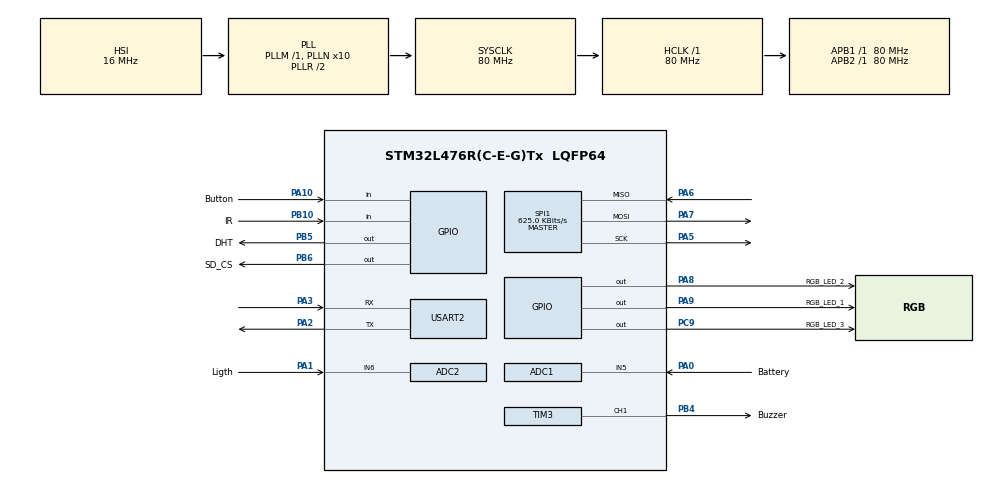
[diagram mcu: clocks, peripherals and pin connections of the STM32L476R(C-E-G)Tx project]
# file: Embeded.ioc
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ADC1.Channel-0\#ChannelRegularConversion=ADC_CHANNEL_5
ADC1.NbrOfConversionFlag=1
ADC1.OffsetNumber-0\#ChannelRegularConversion=ADC_OFFSET_NONE
ADC1.Rank-0\#ChannelRegularConversion=1
ADC1.SamplingTime-0\#ChannelRegularConversion=ADC_SAMPLETIME_2CYCLES_5
ADC1.master=1
ADC2.Channel-0\#ChannelRegularConversion=ADC_CHANNEL_6
ADC2.NbrOfConversionFlag=1
ADC2.OffsetNumber-0\#ChannelRegularConversion=ADC_OFFSET_NONE
ADC2.Rank-0\#ChannelRegularConversion=1
ADC2.Resolution=ADC_RESOLUTION_8B
ADC2.SamplingTime-0\#ChannelRegularConversion=ADC_SAMPLETIME_2CYCLES_5
FREERTOS.Tasks01=defaultTask,24,128,StartDefaultTask,Default,NULL,Dynamic,NULL,NULL;InitTask,8,1024,StartTask02,Default,NULL,Dynamic,NULL,NULL;MonitorTask,8,1024,StartTask03,Default,NULL,Dynamic,NULL,NULL;ObjectDetection,8,1024,StartTask04,Default,NULL,Dynamic,NULL,NULL;CommRxTask,8,1024,StartTask05,Default,NULL,Dynamic,NULL,NULL;CommTxTask,8,128,StartTask06,Default,NULL,Dynamic,NULL,NULL;KeepAliveTask,8,128,StartTask07,Default,NULL,Dynamic,NULL,NULL;WatchdogTask,48,128,StartTask08,Default,NULL,Dynamic,NULL,NULL
FREERTOS.configTOTAL_HEAP_SIZE=\   24576
IWDG.Prescaler=IWDG_PRESCALER_32
Mcu.Family=STM32L4
Mcu.Name=STM32L476R(C-E-G)Tx
Mcu.Package=LQFP64
NVIC.ADC1_2_IRQn=true\:5\:0\:false\:false\:true\:true\:true\:true\:true
NVIC.PriorityGroup=NVIC_PRIORITYGROUP_4
NVIC.USART2_IRQn=true\:5\:0\:false\:false\:true\:true\:true\:true\:true
PA0.GPIO_Label=Battery
PA0.Signal=ADCx_IN5
PA1.GPIO_Label=Ligth
PA1.Signal=ADCx_IN6
PA10.GPIO_Label=Button
PA10.Signal=GPIO_Input
PA2.Mode=Asynchronous
PA2.Signal=USART2_TX
PA3.Mode=Asynchronous
PA3.Signal=USART2_RX
PA5.Mode=Full_Duplex_Master
PA5.Signal=SPI1_SCK
PA6.GPIO_PuPd=GPIO_PULLUP
PA6.Mode=Full_Duplex_Master
PA6.Signal=SPI1_MISO
PA7.Mode=Full_Duplex_Master
PA7.Signal=SPI1_MOSI
PA8.GPIO_Label=RGB_LED_2
PA8.GPIO_ModeDefaultOutputPP=GPIO_MODE_OUTPUT_PP
PA8.GPIO_PuPd=GPIO_NOPULL
PA8.Signal=GPIO_Output
PA9.GPIO_Label=RGB_LED_1
PA9.GPIO_PuPd=GPIO_NOPULL
PA9.Signal=GPIO_Output
PB10.GPIO_Label=IR
PB10.Signal=GPIO_Input
PB4\ (NJTRST).GPIO_Label=Buzzer
PB4\ (NJTRST).Signal=S_TIM3_CH1
PB5.GPIO_Label=DHT
PB5.GPIO_ModeDefaultOutputPP=GPIO_MODE_OUTPUT_OD
PB5.GPIO_PuPd=GPIO_PULLUP
PB5.Signal=GPIO_Output
PB6.GPIO_Label=SD_CS
PB6.Signal=GPIO_Output
PC9.GPIO_Label=RGB_LED_3
PC9.Signal=GPIO_Output
ProjectManager.HeapSize=0x200
ProjectManager.StackSize=0x400
ProjectManager.TargetToolchain=STM32CubeIDE
RCC.ADCFreq_Value=64000000
RCC.AHBFreq_Value=80000000
RCC.APB1Freq_Value=80000000
RCC.APB1TimFreq_Value=80000000
RCC.APB2Freq_Value=80000000
RCC.APB2TimFreq_Value=80000000
RCC.CortexFreq_Value=80000000
RCC.HCLKFreq_Value=80000000
RCC.HSE_VALUE=8000000
RCC.HSI_VALUE=16000000
RCC.LSE_VALUE=32768
RCC.MSI_VALUE=4000000
RCC.PLLN=10
RCC.PLLSourceVirtual=RCC_PLLSOURCE_HSI
RCC.SYSCLKFreq_VALUE=80000000
RCC.SYSCLKSource=RCC_SYSCLKSOURCE_PLLCLK
RCC.USBFreq_Value=64000000
RCC.VCOOutputFreq_Value=160000000
RTC.Hours=10
RTC.Minutes=31
SH.ADCx_IN5.0=ADC1_IN5,IN5-Single-Ended
SH.ADCx_IN6.0=ADC2_IN6,IN6-Single-Ended
SH.S_TIM3_CH1.0=TIM3_CH1,PWM Generation1 CH1
SPI1.BaudRatePrescaler=SPI_BAUDRATEPRESCALER_128
SPI1.CalculateBaudRate=625.0 KBits/s
SPI1.DataSize=SPI_DATASIZE_8BIT
SPI1.Direction=SPI_DIRECTION_2LINES
SPI1.Mode=SPI_MODE_MASTER
SPI1.VirtualType=VM_MASTER
TIM3.Channel-PWM\ Generation1\ CH1=TIM_CHANNEL_1
TIM3.Period=100
TIM3.Prescaler=399
TIM6.Period=999
TIM6.Prescaler=79
USART2.VirtualMode-Asynchronous=VM_ASYNC
VP_FATFS_VS_Generic.Mode=User_defined
VP_FREERTOS_VS_CMSIS_V2.Mode=CMSIS_V2
VP_IWDG_VS_IWDG.Mode=IWDG_Activate
VP_RTC_VS_RTC_Activate.Mode=RTC_Enabled
VP_RTC_VS_RTC_Calendar.Mode=RTC_Calendar
VP_TIM6_VS_ClockSourceINT.Mode=Enable_Timer
board=custom

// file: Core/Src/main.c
/* USER CODE BEGIN Header */
/**
  ******************************************************************************
  * @file           : main.c
  * @brief          : Main program body
  ******************************************************************************
  * @attention
  *
  * Copyright (c) 2026 STMicroelectronics.
  * All rights reserved.
  *
  * This software is licensed under terms that can be found in the LICENSE file
  * in the root directory of this software component.
  * If no LICENSE file comes with this software, it is provided AS-IS.
  *
  ******************************************************************************
  */
/* USER CODE END Header */
#include "main.h"
#include "cmsis_os.h"
#include "fatfs.h"

/* USER CODE BEGIN Includes */
#include "protocol.h"
#include "comm_transport_uart.h"
#include "ir.h"
#include "button.h"
#include "buzzer.h"
#include "configuration.h"
#include "log.h"
#include "event.h"
#include "init.h"
#include "monitor.h"
#include "object_detection.h"
#include "keepalive.h"
#include "communication.h"
#include "tx_queue.h"
#include "rtc_sync.h"
#include "task.h" /* DIAGNOSTIC - raw FreeRTOS task API (uxTaskGetStackHighWaterMark, xPortGetFreeHeapSize) for the freeze investigation */
/* USER CODE END Includes */

/* USER CODE BEGIN PD */

/* Phase 1 (LNC Timestamp/RTC Hardening): a fixed, arbitrary-but-distinctive
 * value written to RTC_BKP_DR0 only after a fully successful RTC
 * synchronization (see RtcSync_ApplyEpoch() below). Confirmed via a
 * repository-wide search that no other project code or CubeMX-generated
 * file uses this backup register for anything else. */
#define RTC_SYNC_MARKER 0x52544301UL

/* Valid RTC_DateTypeDef.Year range (uint8_t offset from 2000, per the
 * STM32 HAL) - bounds which Unix epochs can actually be applied to this
 * RTC. Below 946684800 (2000-01-01) or above 4102444799 (2099-12-31) is
 * not representable and must be rejected by RtcSync_ApplyEpoch(). */
#define RTC_SYNC_MIN_EPOCH 946684800UL
#define RTC_SYNC_MAX_EPOCH 4102444799UL

/* USER CODE END PD */

ADC_HandleTypeDef hadc1;
ADC_HandleTypeDef hadc2;

IWDG_HandleTypeDef hiwdg;

RTC_HandleTypeDef hrtc;

SPI_HandleTypeDef hspi1;

TIM_HandleTypeDef htim3;
TIM_HandleTypeDef htim6;

UART_HandleTypeDef huart2;

/* Definitions for defaultTask */
osThreadId_t defaultTaskHandle;
const osThreadAttr_t defaultTask_attributes = {
  .name = "defaultTask",
  .stack_size = 128 * 4,
  .priority = (osPriority_t) osPriorityNormal,
};
/* Definitions for InitTask */
osThreadId_t InitTaskHandle;
const osThreadAttr_t InitTask_attributes = {
  .name = "InitTask",
  .stack_size = 1024 * 4,
  .priority = (osPriority_t) osPriorityLow,
};
/* Definitions for MonitorTask */
osThreadId_t MonitorTaskHandle;
const osThreadAttr_t MonitorTask_attributes = {
  .name = "MonitorTask",
  .stack_size = 1024 * 4,
  .priority = (osPriority_t) osPriorityLow,
};
/* Definitions for ObjectDetection */
osThreadId_t ObjectDetectionHandle;
const osThreadAttr_t ObjectDetection_attributes = {
  .name = "ObjectDetection",
  .stack_size = 1024 * 4,
  .priority = (osPriority_t) osPriorityLow,
};
/* Definitions for CommRxTask */
osThreadId_t CommRxTaskHandle;
const osThreadAttr_t CommRxTask_attributes = {
  .name = "CommRxTask",
  .stack_size = 1024 * 4,
  .priority = (osPriority_t) osPriorityLow,
};
/* Definitions for CommTxTask */
osThreadId_t CommTxTaskHandle;
const osThreadAttr_t CommTxTask_attributes = {
  .name = "CommTxTask",
  .stack_size = 128 * 4,
  .priority = (osPriority_t) osPriorityLow,
};
/* Definitions for KeepAliveTask */
osThreadId_t KeepAliveTaskHandle;
const osThreadAttr_t KeepAliveTask_attributes = {
  .name = "KeepAliveTask",
  .stack_size = 128 * 4,
  .priority = (osPriority_t) osPriorityLow,
};
/* Definitions for WatchdogTask */
osThreadId_t WatchdogTaskHandle;
const osThreadAttr_t WatchdogTask_attributes = {
  .name = "WatchdogTask",
  .stack_size = 128 * 4,
  .priority = (osPriority_t) osPriorityRealtime,
};
/* USER CODE BEGIN PV */
/* DIAGNOSTIC (round 5, Object Detection task-freeze investigation) - a
 * NEW, temporary 8th task, not one of Sec 7's approved 7. Per explicit
 * user instruction, for this investigation only - remove once concluded.
 * Very low priority, minimal stack, no blocking calls, no shared
 * resources other than one otherwise-unused LED pin (RGB_LED_2/PA8,
 * the blue channel - Event's led.c never drives this channel per its
 * own header comment, so this cannot visually conflict with Event's
 * real red/yellow/green usage). Purpose: if g_heartbeat_count keeps
 * rising while ObjectDetectionTask's own counters freeze, the problem is
 * scoped to ObjectDetectionTask (or something it specifically depends
 * on); if this ALSO freezes at the same time, the problem is system-wide
 * (scheduler/fault/heap/stack corruption). */
osThreadId_t HeartbeatTaskHandle;
const osThreadAttr_t HeartbeatTask_attributes = {
  .name = "HeartbeatTask",
  .stack_size = 128 * 4,
  .priority = (osPriority_t) osPriorityLow,
};
volatile uint32_t g_heartbeat_count = 0;

/* DIAGNOSTIC (round 5) - stack high-water mark (in words remaining, the
 * FreeRTOS convention - NOT bytes) for ObjectDetectionTask and
 * MonitorTask, sampled once per loop iteration in each. A value
 * approaching 0 near the ~5s failure point would indicate a stack
 * overflow is imminent/happening. */
volatile uint32_t g_od_stack_hwm = 0;
volatile uint32_t g_monitor_stack_hwm = 0;

/* DIAGNOSTIC (round 5) - free heap bytes (FreeRTOS heap_4), sampled from
 * both ObjectDetectionTask's and MonitorTask's loops. A sudden drop or
 * implausible plateau near the failure point would suggest heap
 * exhaustion or corruption. */
volatile uint32_t g_free_heap_size = 0;

/* DIAGNOSTIC (round 5) - set by vApplicationStackOverflowHook() (see
 * "USER CODE BEGIN 4" near the end of this file) if FreeRTOS's own
 * stack-overflow detection (just enabled in FreeRTOSConfig.h) ever
 * fires. g_stack_overflow_task_name points at the offending task's own
 * name string (owned by its TCB, safe to read - no task in this project
 * is ever deleted). */
volatile int g_stack_overflow_detected = 0;
volatile char *g_stack_overflow_task_name = 0;

/* Bring-up test counters for the Protocol+Transport loopback test.
   Watch these live in the debugger (Live Expressions / Watch window) -
   this is how we observe test results, since USART2 is reserved for
   protocol traffic only and never carries printf/debug text. */
volatile uint32_t g_frames_decoded_ok = 0;
volatile uint32_t g_frames_decode_error = 0;

/* NOTE: the DHT11/Battery/Light temporary read-and-watch test globals
   that used to live here (g_dht_last_result, g_dht_last_temperature,
   g_dht_last_humidity, g_dht_read_count, g_battery_last_voltage,
   g_light_last_percent) have been REMOVED now that Monitor (monitor.c,
   called from StartTask03/MonitorTask below) is the real, permanent
   caller of DHT_Read()/Battery_ReadVoltage()/Light_ReadPercent() - see
   g_monitor_* below instead. Keeping the old StartTask02 test loop
   calling these too would have made two different tasks call
   DHT_Read() concurrently, which is unsafe (dht.c's bit-banging has no
   reentrancy protection - see dht.c's own file header). All 3 drivers
   were already confirmed working on real hardware before this removal
   (Sec 14/15, PROJECT_GUIDE.md). */

/* TEMPORARY IR sensor hardware test value - same debugger-watch approach
   as above. Also used to determine the sensor's real polarity (currently
   UNCONFIRMED - see ir.h). Remove once the IR driver is confirmed working
   and its polarity is settled. */
volatile IrState g_ir_last_state = IR_NOT_DETECTED;

/* TEMPORARY button hardware test value - same debugger-watch approach as
   above. Also used to determine the button's real polarity (currently
   UNCONFIRMED - see button.h). Remove once the Button driver is
   confirmed working and its polarity is settled. */
volatile ButtonState g_button_last_state = BUTTON_NOT_PRESSED;

/* TEMPORARY buzzer hardware test flag - toggled each loop iteration so the
   buzzer audibly turns on/off every 2s on real hardware. Remove once the
   Buzzer driver is confirmed working. */
volatile uint8_t g_buzzer_test_on = 0;

/* TEMPORARY Configuration hardware test values - same debugger-watch
   approach as above. g_config_loaded_from_flash tells us whether this
   boot found valid data already in flash (1) or had to apply and save
   defaults (0, expected on the very first boot after this firmware is
   flashed). The two temperature values let us eyeball that the loaded
   values look right. Remove once Configuration is confirmed working. */
volatile int g_config_loaded_from_flash = 0;
volatile float g_config_temp_normal_low = 0.0f;
volatile float g_config_temp_normal_high = 0.0f;

/* TEMPORARY Log hardware test values - same debugger-watch approach as
   above. g_log_mounted tells us whether the SD card mounted successfully
   (this is the very first real use of the SD card/FatFs in this
   project). Remove once Log is confirmed working. */
volatile int g_log_init_called = 0; /* set to 1 as the very first line inside Log_Init() itself - confirms the function was actually reached */
volatile int g_log_mounted = 0;
volatile int g_log_mount_result = 0;

/* RTC hardware test values - the real date/time read from the RTC at
   boot (StartTask02, via HAL_RTC_GetTime()/HAL_RTC_GetDate()) and the
   Unix epoch DateToEpoch() converts it to, which is what's actually
   passed into Init_Start(). g_rtc_year/month/day/hour/minute/second let
   the real RTC reading be eyeballed directly against the wall clock;
   g_rtc_timestamp mirrors the exact value Init received. Replaces the
   old fixed g_log_test_timestamp placeholder now that the RTC is
   enabled - Monitor (see g_monitor_test_timestamp below) still has its
   own, separate, incrementing test clock for its own per-cycle
   timestamps, unaffected by this change. */
volatile uint16_t g_rtc_year = 0;
volatile uint8_t g_rtc_month = 0;
volatile uint8_t g_rtc_day = 0;
volatile uint8_t g_rtc_hour = 0;
volatile uint8_t g_rtc_minute = 0;
volatile uint8_t g_rtc_second = 0;
volatile uint32_t g_rtc_timestamp = 0;

/* Set once, early in main(), from RCC_FLAG_IWDGRST before the reset
 * flags are cleared. Passed into Init_Start(), which forwards it to
 * Event_OnInitStartup() as the startup event's flag. */
uint8_t g_wasWatchdogReset = 0;

/* Phase 1 (LNC Timestamp/RTC Hardening): true once the RTC has been set
 * from a real CC-supplied epoch since the last boot (via either
 * TAG_SET_RTC_DATETIME or TAG_SYSTEM_TIME_RESPONSE), or restored at boot
 * via the RTC_BKP_DR0 marker. Deliberately kept private to this file -
 * every other module queries it only through RtcSync_IsSynchronized()
 * (rtc_sync.h), never by name. See RtcSync_IsSynchronized()/
 * RtcSync_ApplyEpoch() further down for the only code that reads/writes
 * this variable. */
static volatile uint8_t rtc_synchronized = 0;

/* TEMPORARY Log write-path diagnostics - the FatFs result of the last
   f_open()/f_write()/f_close() call inside Log_Write(), so we can see
   exactly where a write is failing. 0 = FR_OK = success; nonzero = a
   specific FatFs error (see log.h's getter comments for the common
   ones). Remove once Log is confirmed working. */
volatile int g_log_open_result = 0;
volatile int g_log_write_result = 0;
volatile int g_log_close_result = 0;
volatile unsigned int g_log_bytes_written = 0;

/* TEMPORARY Event hardware test values - same debugger-watch approach as
   Log's. g_event_last_frame_length is the byte count Event_On*()
   returned for the most recent test call (0 would mean the CC-frame
   build failed). g_event_alarm_active mirrors Event_IsAlarmActive() so
   the alarm-active / button-silences-it behavior can be watched live.
   Remove once Event is confirmed working. */
volatile uint16_t g_event_last_frame_length = 0;
volatile int g_event_alarm_active = 0;
volatile int g_event_open_result = 0;
volatile int g_event_write_result = 0;
volatile int g_event_close_result = 0;

/* TEMPORARY Monitor hardware test values - same debugger-watch approach
   as every other module. No RTC exists yet, so g_monitor_test_timestamp
   is Monitor's own fixed test clock, incremented by 5s (Monitor's real
   Sec 2.1 cadence) once per real sampling cycle. g_monitor_sample_count
   confirms MonitorTask is actually running; the 4 sensor values + mode
   mirror the MeasurementSample Monitor_Sample() just built, so the
   classification logic can be watched live against Configuration's
   limits. Remove once Monitor is confirmed working. */
volatile uint32_t g_monitor_sample_count = 0;
volatile uint32_t g_monitor_test_timestamp = 1788134400UL; /* 2026-08-31 00:00:00 UTC */
volatile float g_monitor_last_temperature = 0.0f;
volatile float g_monitor_last_humidity = 0.0f;
volatile float g_monitor_last_light = 0.0f;
volatile float g_monitor_last_battery = 0.0f;
volatile uint8_t g_monitor_last_mode = MODE_NORMAL;

/* TEMPORARY Object Detection hardware test values - same debugger-watch
   approach as every other module. No RTC exists yet, so
   g_object_detection_test_timestamp is this task's own fixed test clock
   (see StartTask04's comment for why it increments by 1 every 20ms poll
   rather than tracking real time). g_object_detection_last_state mirrors
   ObjectDetection_GetCurrentState() so the debounced detect/clear state
   can be watched live. Remove once Object Detection is confirmed
   working. */
volatile uint32_t g_object_detection_test_timestamp = 1788134400UL; /* 2026-08-31 00:00:00 UTC */
volatile IrState g_object_detection_last_state = IR_NOT_DETECTED;

/* DIAGNOSTIC (investigating a reported "stuck at DETECTED" hardware
 * issue) - mirrors ObjectDetection_GetRawReading(), i.e. the raw
 * IR_Read() value from the most recent poll, NOT the debounced
 * g_object_detection_last_state above. Watch this with no IR source
 * present, then with a remote pointed at the sensor, then with the
 * remote removed again, to see whether the raw pin is actually stable
 * at idle or chattering on its own. Remove once understood. */
volatile IrState g_object_detection_raw_ir_state = IR_NOT_DETECTED;

/* DIAGNOSTIC (round 2 of the same investigation) - the DIRECT GPIO
 * read result on IR_Pin (PB10), 1 = GPIO_PIN_SET (HIGH), 0 =
 * GPIO_PIN_RESET (LOW), taken independently of ir.c's IR_Read()/IrState
 * conversion (a second, separate HAL_GPIO_ReadPin() call - safe, since a
 * plain digital input has no state/side effects to duplicate). Lets the
 * raw 0/1 level be compared side by side with g_object_detection_raw_ir_state
 * to rule in/out ir.c's HIGH/LOW-to-IrState mapping as a factor. Remove
 * once the IR investigation is concluded. */
volatile uint8_t g_object_detection_raw_gpio_level = 0;

/* DIAGNOSTIC (round 3) - increments unconditionally on every single
 * StartTask04 loop iteration, BEFORE anything else runs that iteration.
 * If this is NOT rising in the debugger (watch it over several seconds,
 * not just one snapshot), the task itself is not looping - a genuine
 * task-execution problem (hang/fault/starvation), not an IR signal
 * problem. If it IS rising steadily (~50/sec, matching the 20ms poll
 * interval) while g_object_detection_raw_gpio_level stays fixed at 1,
 * that proves HAL_GPIO_ReadPin() is genuinely being called every 20ms
 * and genuinely keeps reading HIGH at each sampled instant. Remove once
 * the IR investigation is concluded. */
volatile uint32_t g_object_detection_poll_count = 0;

/* DIAGNOSTIC (round 4) - one counter placed at each step of StartTask04's
 * loop body, in order. Each should equal g_object_detection_poll_count
 * if the loop is completing normally. Whichever one STOPS matching (is
 * lower than the ones before it, and stays there) pinpoints exactly
 * which step the task got stuck on. Remove once the IR investigation is
 * concluded. */
volatile uint32_t g_od_diag_before_poll = 0;          /* step 2: right before ObjectDetection_Poll() */
volatile uint32_t g_od_diag_after_poll = 0;            /* step 3: right after ObjectDetection_Poll() returns */
volatile uint32_t g_od_diag_before_button_check = 0;   /* step 4: right before Event_CheckAlarmButton() */
volatile uint32_t g_od_diag_after_button_check = 0;    /* step 5: right after Event_CheckAlarmButton() returns */
volatile uint32_t g_od_diag_before_delay = 0;          /* step 6: right before osDelay(20) */
volatile uint32_t g_od_diag_after_delay = 0;           /* step 7: right after osDelay(20) returns - if this stops but step 6 doesn't, osDelay() itself never returned */

/* TEMPORARY Keep-Alive hardware test values - same debugger-watch
   approach as every other module. g_keepalive_send_count confirms
   KeepAliveTask is actually running its real 6s cycle;
   g_keepalive_last_timestamp is the fresh RTC-derived value passed into
   KeepAlive_Send() that cycle; g_keepalive_last_frame_length mirrors
   KeepAlive_Send()'s return value (0 would mean Message_BuildKeepAlive()
   failed - should never happen with a 32-byte buffer, but worth
   watching). Remove once Keep-Alive is confirmed working. */
volatile uint32_t g_keepalive_send_count = 0;
volatile uint32_t g_keepalive_last_timestamp = 0;
volatile uint16_t g_keepalive_last_frame_length = 0;

/* TEMPORARY Communication dispatch hardware test values - same
   debugger-watch approach as every other module. Mirrors
   communication.c's own counters/last-tag getter after every dispatched
   frame, so a real CC-sent command's effect can be watched live (e.g.
   send a "set temp normal range" command and watch
   g_dispatch_set_limit_count go up). Remove once dispatch is confirmed
   working. */
volatile uint8_t g_dispatch_last_tag = 0;
volatile uint32_t g_dispatch_set_limit_count = 0;
volatile uint32_t g_dispatch_system_time_request_count = 0;
volatile uint32_t g_dispatch_deferred_count = 0;
volatile uint32_t g_dispatch_unknown_tag_count = 0;
/* USER CODE END PV */

void SystemClock_Config(void);
void PeriphCommonClock_Config(void);
static void MX_GPIO_Init(void);
static void MX_SPI1_Init(void);
static void MX_USART2_UART_Init(void);
static void MX_TIM6_Init(void);
static void MX_ADC1_Init(void);
static void MX_ADC2_Init(void);
static void MX_TIM3_Init(void);
static void MX_RTC_Init(void);
static void MX_IWDG_Init(void);
void StartDefaultTask(void *argument);
void StartTask02(void *argument);
void StartTask03(void *argument);
void StartTask04(void *argument);
void StartTask05(void *argument);
void StartTask06(void *argument);
void StartTask07(void *argument);
void StartTask08(void *argument);

/* USER CODE BEGIN PFP */
void StartHeartbeatTask(void *argument); /* DIAGNOSTIC - round 5, see its attributes/globals in USER CODE BEGIN PV */
/* USER CODE END PFP */

int main(void)
{

  /* MCU Configuration--------------------------------------------------------*/

  /* Reset of all peripherals, Initializes the Flash interface and the Systick. */

	HAL_Init();

  /* USER CODE BEGIN Init */

  /* Read the reset cause before anything can clear it - RCC->CSR's reset
     flags persist across HAL_Init() and are only cleared explicitly
     below, so this is the earliest point that reliably captures whether
     the IWDG caused the reset preceding this boot. */
  g_wasWatchdogReset = (uint8_t)(__HAL_RCC_GET_FLAG(RCC_FLAG_IWDGRST) != RESET);
  __HAL_RCC_CLEAR_RESET_FLAGS();

  /* USER CODE END Init */

  /* Configure the system clock */
  SystemClock_Config();

  /* Configure the peripherals common clocks */
  PeriphCommonClock_Config();

  /* Initialize all configured peripherals */
  MX_GPIO_Init();
  MX_SPI1_Init();
  MX_USART2_UART_Init();
  MX_FATFS_Init();
  MX_TIM6_Init();
  MX_ADC1_Init();
  MX_ADC2_Init();
  MX_TIM3_Init();
  MX_RTC_Init();
  MX_IWDG_Init();

  /* Init scheduler */
  osKernelInitialize();

  /* USER CODE BEGIN RTOS_QUEUES */
  /* Sec 7: the 3 statically-allocated TX-priority queues (see
     tx_queue.c for why static, not heap-backed) - must exist before
     CommTxTask/KeepAliveTask/etc. start using them, so created here,
     before the scheduler starts. This marker is CubeMX's own
     regeneration-safe spot for exactly this ("add queues, ..."). */
  TxQueue_Init();
  /* USER CODE END RTOS_QUEUES */

  /* Create the thread(s) */
  /* creation of defaultTask */
  defaultTaskHandle = osThreadNew(StartDefaultTask, NULL, &defaultTask_attributes);

  /* creation of InitTask */
  InitTaskHandle = osThreadNew(StartTask02, NULL, &InitTask_attributes);

  /* creation of MonitorTask */
  MonitorTaskHandle = osThreadNew(StartTask03, NULL, &MonitorTask_attributes);

  /* creation of ObjectDetection */
  ObjectDetectionHandle = osThreadNew(StartTask04, NULL, &ObjectDetection_attributes);

  /* creation of CommRxTask */
  CommRxTaskHandle = osThreadNew(StartTask05, NULL, &CommRxTask_attributes);

  /* creation of CommTxTask */
  CommTxTaskHandle = osThreadNew(StartTask06, NULL, &CommTxTask_attributes);

  /* creation of KeepAliveTask */
  KeepAliveTaskHandle = osThreadNew(StartTask07, NULL, &KeepAliveTask_attributes);

  /* creation of WatchdogTask */
  WatchdogTaskHandle = osThreadNew(StartTask08, NULL, &WatchdogTask_attributes);

  /* USER CODE BEGIN RTOS_THREADS */
  /* DIAGNOSTIC (round 5) - temporary 8th task, see its attributes/globals
     in USER CODE BEGIN PV for why. Remove once the investigation concludes. */
  HeartbeatTaskHandle = osThreadNew(StartHeartbeatTask, NULL, &HeartbeatTask_attributes);
  /* USER CODE END RTOS_THREADS */

  /* Start scheduler */
  osKernelStart();

  /* We should never get here as control is now taken by the scheduler */

  /* Infinite loop */
  while (1)
  {

  }
}

void SystemClock_Config(void)
{
  RCC_OscInitTypeDef RCC_OscInitStruct = {0};
  RCC_ClkInitTypeDef RCC_ClkInitStruct = {0};

  /** Configure the main internal regulator output voltage
  */
  if (HAL_PWREx_ControlVoltageScaling(PWR_REGULATOR_VOLTAGE_SCALE1) != HAL_OK)
  {
    Error_Handler();
  }

  /** Initializes the RCC Oscillators according to the specified parameters
  * in the RCC_OscInitTypeDef structure.
  */
  RCC_OscInitStruct.OscillatorType = RCC_OSCILLATORTYPE_HSI|RCC_OSCILLATORTYPE_LSI;
  RCC_OscInitStruct.HSIState = RCC_HSI_ON;
  RCC_OscInitStruct.HSICalibrationValue = RCC_HSICALIBRATION_DEFAULT;
  RCC_OscInitStruct.LSIState = RCC_LSI_ON;
  RCC_OscInitStruct.PLL.PLLState = RCC_PLL_ON;
  RCC_OscInitStruct.PLL.PLLSource = RCC_PLLSOURCE_HSI;
  RCC_OscInitStruct.PLL.PLLM = 1;
  RCC_OscInitStruct.PLL.PLLN = 10;
  RCC_OscInitStruct.PLL.PLLP = RCC_PLLP_DIV7;
  RCC_OscInitStruct.PLL.PLLQ = RCC_PLLQ_DIV2;
  RCC_OscInitStruct.PLL.PLLR = RCC_PLLR_DIV2;
  if (HAL_RCC_OscConfig(&RCC_OscInitStruct) != HAL_OK)
  {
    Error_Handler();
  }

  /** Initializes the CPU, AHB and APB buses clocks
  */
  RCC_ClkInitStruct.ClockType = RCC_CLOCKTYPE_HCLK|RCC_CLOCKTYPE_SYSCLK
                              |RCC_CLOCKTYPE_PCLK1|RCC_CLOCKTYPE_PCLK2;
  RCC_ClkInitStruct.SYSCLKSource = RCC_SYSCLKSOURCE_PLLCLK;
  RCC_ClkInitStruct.AHBCLKDivider = RCC_SYSCLK_DIV1;
  RCC_ClkInitStruct.APB1CLKDivider = RCC_HCLK_DIV1;
  RCC_ClkInitStruct.APB2CLKDivider = RCC_HCLK_DIV1;

  if (HAL_RCC_ClockConfig(&RCC_ClkInitStruct, FLASH_LATENCY_4) != HAL_OK)
  {
    Error_Handler();
  }
}

void PeriphCommonClock_Config(void)
{
  RCC_PeriphCLKInitTypeDef PeriphClkInit = {0};

  /** Initializes the peripherals clock
  */
  PeriphClkInit.PeriphClockSelection = RCC_PERIPHCLK_ADC;
  PeriphClkInit.AdcClockSelection = RCC_ADCCLKSOURCE_PLLSAI1;
  PeriphClkInit.PLLSAI1.PLLSAI1Source = RCC_PLLSOURCE_HSI;
  PeriphClkInit.PLLSAI1.PLLSAI1M = 1;
  PeriphClkInit.PLLSAI1.PLLSAI1N = 8;
  PeriphClkInit.PLLSAI1.PLLSAI1P = RCC_PLLP_DIV7;
  PeriphClkInit.PLLSAI1.PLLSAI1Q = RCC_PLLQ_DIV2;
  PeriphClkInit.PLLSAI1.PLLSAI1R = RCC_PLLR_DIV2;
  PeriphClkInit.PLLSAI1.PLLSAI1ClockOut = RCC_PLLSAI1_ADC1CLK;
  if (HAL_RCCEx_PeriphCLKConfig(&PeriphClkInit) != HAL_OK)
  {
    Error_Handler();
  }
}

static void MX_ADC1_Init(void)
{

  ADC_MultiModeTypeDef multimode = {0};
  ADC_ChannelConfTypeDef sConfig = {0};

  /** Common config
  */
  hadc1.Instance = ADC1;
  hadc1.Init.ClockPrescaler = ADC_CLOCK_ASYNC_DIV1;
  hadc1.Init.Resolution = ADC_RESOLUTION_12B;
  hadc1.Init.DataAlign = ADC_DATAALIGN_RIGHT;
  hadc1.Init.ScanConvMode = ADC_SCAN_DISABLE;
  hadc1.Init.EOCSelection = ADC_EOC_SINGLE_CONV;
  hadc1.Init.LowPowerAutoWait = DISABLE;
  hadc1.Init.ContinuousConvMode = DISABLE;
  hadc1.Init.NbrOfConversion = 1;
  hadc1.Init.DiscontinuousConvMode = DISABLE;
  hadc1.Init.ExternalTrigConv = ADC_SOFTWARE_START;
  hadc1.Init.ExternalTrigConvEdge = ADC_EXTERNALTRIGCONVEDGE_NONE;
  hadc1.Init.DMAContinuousRequests = DISABLE;
  hadc1.Init.Overrun = ADC_OVR_DATA_PRESERVED;
  hadc1.Init.OversamplingMode = DISABLE;
  if (HAL_ADC_Init(&hadc1) != HAL_OK)
  {
    Error_Handler();
  }

  /** Configure the ADC multi-mode
  */
  multimode.Mode = ADC_MODE_INDEPENDENT;
  if (HAL_ADCEx_MultiModeConfigChannel(&hadc1, &multimode) != HAL_OK)
  {
    Error_Handler();
  }

  /** Configure Regular Channel
  */
  sConfig.Channel = ADC_CHANNEL_5;
  sConfig.Rank = ADC_REGULAR_RANK_1;
  sConfig.SamplingTime = ADC_SAMPLETIME_2CYCLES_5;
  sConfig.SingleDiff = ADC_SINGLE_ENDED;
  sConfig.OffsetNumber = ADC_OFFSET_NONE;
  sConfig.Offset = 0;
  if (HAL_ADC_ConfigChannel(&hadc1, &sConfig) != HAL_OK)
  {
    Error_Handler();
  }

}

static void MX_ADC2_Init(void)
{

  ADC_ChannelConfTypeDef sConfig = {0};

  /** Common config
  */
  hadc2.Instance = ADC2;
  hadc2.Init.ClockPrescaler = ADC_CLOCK_ASYNC_DIV1;
  hadc2.Init.Resolution = ADC_RESOLUTION_8B;
  hadc2.Init.DataAlign = ADC_DATAALIGN_RIGHT;
  hadc2.Init.ScanConvMode = ADC_SCAN_DISABLE;
  hadc2.Init.EOCSelection = ADC_EOC_SINGLE_CONV;
  hadc2.Init.LowPowerAutoWait = DISABLE;
  hadc2.Init.ContinuousConvMode = DISABLE;
  hadc2.Init.NbrOfConversion = 1;
  hadc2.Init.DiscontinuousConvMode = DISABLE;
  hadc2.Init.ExternalTrigConv = ADC_SOFTWARE_START;
  hadc2.Init.ExternalTrigConvEdge = ADC_EXTERNALTRIGCONVEDGE_NONE;
  hadc2.Init.DMAContinuousRequests = DISABLE;
  hadc2.Init.Overrun = ADC_OVR_DATA_PRESERVED;
  hadc2.Init.OversamplingMode = DISABLE;
  if (HAL_ADC_Init(&hadc2) != HAL_OK)
  {
    Error_Handler();
  }

  /** Configure Regular Channel
  */
  sConfig.Channel = ADC_CHANNEL_6;
  sConfig.Rank = ADC_REGULAR_RANK_1;
  sConfig.SamplingTime = ADC_SAMPLETIME_2CYCLES_5;
  sConfig.SingleDiff = ADC_SINGLE_ENDED;
  sConfig.OffsetNumber = ADC_OFFSET_NONE;
  sConfig.Offset = 0;
  if (HAL_ADC_ConfigChannel(&hadc2, &sConfig) != HAL_OK)
  {
    Error_Handler();
  }

}

static void MX_IWDG_Init(void)
{

  hiwdg.Instance = IWDG;
  hiwdg.Init.Prescaler = IWDG_PRESCALER_32;
  hiwdg.Init.Window = 4095;
  hiwdg.Init.Reload = 4095;
  if (HAL_IWDG_Init(&hiwdg) != HAL_OK)
  {
    Error_Handler();
  }

}

static void MX_RTC_Init(void)
{

  RTC_TimeTypeDef sTime = {0};
  RTC_DateTypeDef sDate = {0};

  /** Initialize RTC Only
  */
  hrtc.Instance = RTC;
  hrtc.Init.HourFormat = RTC_HOURFORMAT_24;
  hrtc.Init.AsynchPrediv = 127;
  hrtc.Init.SynchPrediv = 255;
  hrtc.Init.OutPut = RTC_OUTPUT_DISABLE;
  hrtc.Init.OutPutRemap = RTC_OUTPUT_REMAP_NONE;
  hrtc.Init.OutPutPolarity = RTC_OUTPUT_POLARITY_HIGH;
  hrtc.Init.OutPutType = RTC_OUTPUT_TYPE_OPENDRAIN;
  if (HAL_RTC_Init(&hrtc) != HAL_OK)
  {
    Error_Handler();
  }

  /* USER CODE BEGIN Check_RTC_BKUP */
  /* Phase 1 (LNC Timestamp/RTC Hardening): RTC_BKP_DR0 lives in the same
   * backup domain as the RTC calendar itself - it survives a software
   * reset and, as long as VBAT is maintained, a power cycle. If a
   * previous successful sync left our marker there, the RTC's current
   * value was carried over too, so the fixed default below is skipped
   * and the retained value is trusted immediately. If the marker is
   * missing (first-ever boot, or the backup domain lost power - both
   * look identical from software, by design, see PROJECT_GUIDE.md), the
   * default set below runs and the LNC stays unsynchronized until a
   * real sync happens. */
  if (HAL_RTCEx_BKUPRead(&hrtc, RTC_BKP_DR0) == RTC_SYNC_MARKER)
  {
    rtc_synchronized = 1;
  }
  /* USER CODE END Check_RTC_BKUP */

  /** Initialize RTC and set the Time and Date
  */
  sTime.Hours = 0x10;
  sTime.Minutes = 0x31;
  sTime.Seconds = 0x0;
  sTime.DayLightSaving = RTC_DAYLIGHTSAVING_NONE;
  sTime.StoreOperation = RTC_STOREOPERATION_RESET;
  if (HAL_RTC_SetTime(&hrtc, &sTime, RTC_FORMAT_BCD) != HAL_OK)
  {
    Error_Handler();
  }
  sDate.WeekDay = RTC_WEEKDAY_MONDAY;
  sDate.Month = RTC_MONTH_JANUARY;
  sDate.Date = 0x1;
  sDate.Year = 0x0;

  if (HAL_RTC_SetDate(&hrtc, &sDate, RTC_FORMAT_BCD) != HAL_OK)
  {
    Error_Handler();
  }

}

static void MX_SPI1_Init(void)
{

  /* SPI1 parameter configuration*/
  hspi1.Instance = SPI1;
  hspi1.Init.Mode = SPI_MODE_MASTER;
  hspi1.Init.Direction = SPI_DIRECTION_2LINES;
  hspi1.Init.DataSize = SPI_DATASIZE_8BIT;
  hspi1.Init.CLKPolarity = SPI_POLARITY_LOW;
  hspi1.Init.CLKPhase = SPI_PHASE_1EDGE;
  hspi1.Init.NSS = SPI_NSS_SOFT;
  hspi1.Init.BaudRatePrescaler = SPI_BAUDRATEPRESCALER_128;
  hspi1.Init.FirstBit = SPI_FIRSTBIT_MSB;
  hspi1.Init.TIMode = SPI_TIMODE_DISABLE;
  hspi1.Init.CRCCalculation = SPI_CRCCALCULATION_DISABLE;
  hspi1.Init.CRCPolynomial = 7;
  hspi1.Init.CRCLength = SPI_CRC_LENGTH_DATASIZE;
  hspi1.Init.NSSPMode = SPI_NSS_PULSE_ENABLE;
  if (HAL_SPI_Init(&hspi1) != HAL_OK)
  {
    Error_Handler();
  }

}

static void MX_TIM3_Init(void)
{

  TIM_MasterConfigTypeDef sMasterConfig = {0};
  TIM_OC_InitTypeDef sConfigOC = {0};

  htim3.Instance = TIM3;
  htim3.Init.Prescaler = 399;
  htim3.Init.CounterMode = TIM_COUNTERMODE_UP;
  htim3.Init.Period = 100;
  htim3.Init.ClockDivision = TIM_CLOCKDIVISION_DIV1;
  htim3.Init.AutoReloadPreload = TIM_AUTORELOAD_PRELOAD_DISABLE;
  if (HAL_TIM_PWM_Init(&htim3) != HAL_OK)
  {
    Error_Handler();
  }
  sMasterConfig.MasterOutputTrigger = TIM_TRGO_RESET;
  sMasterConfig.MasterSlaveMode = TIM_MASTERSLAVEMODE_DISABLE;
  if (HAL_TIMEx_MasterConfigSynchronization(&htim3, &sMasterConfig) != HAL_OK)
  {
    Error_Handler();
  }
  sConfigOC.OCMode = TIM_OCMODE_PWM1;
  sConfigOC.Pulse = 0;
  sConfigOC.OCPolarity = TIM_OCPOLARITY_HIGH;
  sConfigOC.OCFastMode = TIM_OCFAST_DISABLE;
  if (HAL_TIM_PWM_ConfigChannel(&htim3, &sConfigOC, TIM_CHANNEL_1) != HAL_OK)
  {
    Error_Handler();
  }
  HAL_TIM_MspPostInit(&htim3);

}

static void MX_TIM6_Init(void)
{

  TIM_MasterConfigTypeDef sMasterConfig = {0};

  htim6.Instance = TIM6;
  htim6.Init.Prescaler = 79;
  htim6.Init.CounterMode = TIM_COUNTERMODE_UP;
  htim6.Init.Period = 999;
  htim6.Init.AutoReloadPreload = TIM_AUTORELOAD_PRELOAD_DISABLE;
  if (HAL_TIM_Base_Init(&htim6) != HAL_OK)
  {
    Error_Handler();
  }
  sMasterConfig.MasterOutputTrigger = TIM_TRGO_RESET;
  sMasterConfig.MasterSlaveMode = TIM_MASTERSLAVEMODE_DISABLE;
  if (HAL_TIMEx_MasterConfigSynchronization(&htim6, &sMasterConfig) != HAL_OK)
  {
    Error_Handler();
  }

}

static void MX_USART2_UART_Init(void)
{

  huart2.Instance = USART2;
  huart2.Init.BaudRate = 115200;
  huart2.Init.WordLength = UART_WORDLENGTH_8B;
  huart2.Init.StopBits = UART_STOPBITS_1;
  huart2.Init.Parity = UART_PARITY_NONE;
  huart2.Init.Mode = UART_MODE_TX_RX;
  huart2.Init.HwFlowCtl = UART_HWCONTROL_NONE;
  huart2.Init.OverSampling = UART_OVERSAMPLING_16;
  huart2.Init.OneBitSampling = UART_ONE_BIT_SAMPLE_DISABLE;
  huart2.AdvancedInit.AdvFeatureInit = UART_ADVFEATURE_NO_INIT;
  if (HAL_UART_Init(&huart2) != HAL_OK)
  {
    Error_Handler();
  }

}

static void MX_GPIO_Init(void)
{
  GPIO_InitTypeDef GPIO_InitStruct = {0};

  /* GPIO Ports Clock Enable */
  __HAL_RCC_GPIOA_CLK_ENABLE();
  __HAL_RCC_GPIOB_CLK_ENABLE();
  __HAL_RCC_GPIOC_CLK_ENABLE();

  /*Configure GPIO pin Output Level */
  HAL_GPIO_WritePin(RGB_LED_3_GPIO_Port, RGB_LED_3_Pin, GPIO_PIN_RESET);

  /*Configure GPIO pin Output Level */
  HAL_GPIO_WritePin(GPIOA, RGB_LED_2_Pin|RGB_LED_1_Pin, GPIO_PIN_RESET);

  /*Configure GPIO pin Output Level */
  HAL_GPIO_WritePin(GPIOB, DHT_Pin|SD_CS_Pin, GPIO_PIN_RESET);

  /*Configure GPIO pin : IR_Pin */
  GPIO_InitStruct.Pin = IR_Pin;
  GPIO_InitStruct.Mode = GPIO_MODE_INPUT;
  GPIO_InitStruct.Pull = GPIO_NOPULL;
  HAL_GPIO_Init(IR_GPIO_Port, &GPIO_InitStruct);

  /*Configure GPIO pin : RGB_LED_3_Pin */
  GPIO_InitStruct.Pin = RGB_LED_3_Pin;
  GPIO_InitStruct.Mode = GPIO_MODE_OUTPUT_PP;
  GPIO_InitStruct.Pull = GPIO_NOPULL;
  GPIO_InitStruct.Speed = GPIO_SPEED_FREQ_LOW;
  HAL_GPIO_Init(RGB_LED_3_GPIO_Port, &GPIO_InitStruct);

  /*Configure GPIO pins : RGB_LED_2_Pin RGB_LED_1_Pin */
  GPIO_InitStruct.Pin = RGB_LED_2_Pin|RGB_LED_1_Pin;
  GPIO_InitStruct.Mode = GPIO_MODE_OUTPUT_PP;
  GPIO_InitStruct.Pull = GPIO_NOPULL;
  GPIO_InitStruct.Speed = GPIO_SPEED_FREQ_LOW;
  HAL_GPIO_Init(GPIOA, &GPIO_InitStruct);

  /*Configure GPIO pin : Button_Pin */
  GPIO_InitStruct.Pin = Button_Pin;
  GPIO_InitStruct.Mode = GPIO_MODE_INPUT;
  GPIO_InitStruct.Pull = GPIO_NOPULL;
  HAL_GPIO_Init(Button_GPIO_Port, &GPIO_InitStruct);

  /*Configure GPIO pin : DHT_Pin */
  GPIO_InitStruct.Pin = DHT_Pin;
  GPIO_InitStruct.Mode = GPIO_MODE_OUTPUT_OD;
  GPIO_InitStruct.Pull = GPIO_PULLUP;
  GPIO_InitStruct.Speed = GPIO_SPEED_FREQ_LOW;
  HAL_GPIO_Init(DHT_GPIO_Port, &GPIO_InitStruct);

  /*Configure GPIO pin : SD_CS_Pin */
  GPIO_InitStruct.Pin = SD_CS_Pin;
  GPIO_InitStruct.Mode = GPIO_MODE_OUTPUT_PP;
  GPIO_InitStruct.Pull = GPIO_NOPULL;
  GPIO_InitStruct.Speed = GPIO_SPEED_FREQ_LOW;
  HAL_GPIO_Init(SD_CS_GPIO_Port, &GPIO_InitStruct);

}

/* USER CODE BEGIN 4 */
int _write(int file, char *ptr, int len)
{
    HAL_UART_Transmit(&huart2, (uint8_t *)ptr, len, HAL_MAX_DELAY);
    return len;
}

/* Is "year" a leap year? Same Gregorian rule as log.c's private
 * IsLeapYear() - duplicated here rather than shared, for the same
 * reason log.c's own EpochToDate()/IsLeapYear() were duplicated into
 * event.c: log.c's versions are static/private and Log is finished/
 * verified/do-not-touch. */
static int IsLeapYearForRtc(uint16_t year)
{
    if (year % 400 == 0) return 1;
    if (year % 100 == 0) return 0;
    return (year % 4 == 0);
}

/* Converts a calendar date/time (as just read from the hardware RTC)
 * into a Unix epoch timestamp (seconds since 1970-01-01 UTC) - the
 * exact inverse of log.c's private EpochToDate(), written the same way
 * (simple counting loops, no library date functions) for the same
 * beginner-friendly readability. month is 1-12, day is 1-31. */
static uint32_t DateToEpoch(uint16_t year, uint8_t month, uint8_t day, uint8_t hour, uint8_t minute, uint8_t second)
{
    static const uint8_t daysInMonth[12] = { 31, 28, 31, 30, 31, 30, 31, 31, 30, 31, 30, 31 };
    uint32_t days = 0;
    uint16_t y;
    uint8_t m;

    for (y = 1970; y < year; y++)
    {
        days += IsLeapYearForRtc(y) ? 366 : 365;
    }

    for (m = 0; m < (month - 1); m++)
    {
        uint8_t dim = daysInMonth[m];
        if (m == 1 && IsLeapYearForRtc(year)) /* February */
        {
            dim = 29;
        }
        days += dim;
    }

    days += (day - 1);

    return (days * 86400UL) + ((uint32_t)hour * 3600UL) + ((uint32_t)minute * 60UL) + second;
}

/* Phase 1 (LNC Timestamp/RTC Hardening): the exact inverse of DateToEpoch()
 * above - converts a Unix epoch timestamp back into calendar fields, so a
 * CC-supplied epoch (TAG_SET_RTC_DATETIME / TAG_SYSTEM_TIME_RESPONSE) can
 * be applied to the RTC. Same "simple counting loop, no library date
 * functions" style as DateToEpoch()/log.c's own EpochToDate() - not
 * reused from log.c because that one is private/date-only (no time-of-day)
 * and log.c is explicitly do-not-touch (PROJECT_GUIDE.md). Mathematically
 * valid for the full uint32_t range (1970-01-01 through 2106-02-07), but
 * callers must separately bound-check against RTC_SYNC_MIN_EPOCH/
 * RTC_SYNC_MAX_EPOCH first - RTC_DateTypeDef.Year is a uint8_t offset from
 * 2000, so only 2000-2099 can actually be written to the RTC hardware. */
static void EpochToCalendar(uint32_t epochSeconds, uint16_t *outYear, uint8_t *outMonth,
                             uint8_t *outDay, uint8_t *outHour, uint8_t *outMinute, uint8_t *outSecond)
{
    static const uint8_t daysInMonth[12] = { 31, 28, 31, 30, 31, 30, 31, 31, 30, 31, 30, 31 };
    uint32_t remaining = epochSeconds;
    uint32_t daysSinceEpoch;
    uint16_t year = 1970;
    uint8_t month = 0;

    *outSecond = (uint8_t)(remaining % 60UL); remaining /= 60UL;
    *outMinute = (uint8_t)(remaining % 60UL); remaining /= 60UL;
    *outHour   = (uint8_t)(remaining % 24UL); remaining /= 24UL;
    daysSinceEpoch = remaining;

    for (;;)
    {
        uint16_t daysInThisYear = IsLeapYearForRtc(year) ? 366 : 365;
        if (daysSinceEpoch < daysInThisYear)
        {
            break;
        }
        daysSinceEpoch -= daysInThisYear;
        year++;
    }
    *outYear = year;

    for (;;)
    {
        uint8_t dim = daysInMonth[month];
        if (month == 1 && IsLeapYearForRtc(year)) /* February */
        {
            dim = 29;
        }
        if (daysSinceEpoch < dim)
        {
            break;
        }
        daysSinceEpoch -= dim;
        month++;
    }
    *outMonth = (uint8_t)(month + 1);
    *outDay = (uint8_t)(daysSinceEpoch + 1);
}

/* Phase 1 (LNC Timestamp/RTC Hardening): the only code anywhere that reads
 * "rtc_synchronized" - every other module queries this function instead
 * (rtc_sync.h), never the variable itself. */
int RtcSync_IsSynchronized(void)
{
    return rtc_synchronized ? 1 : 0;
}

/* Phase 1 (LNC Timestamp/RTC Hardening): the single shared path both
 * TAG_SET_RTC_DATETIME and TAG_SYSTEM_TIME_RESPONSE use to actually apply
 * a CC-supplied epoch to the RTC (communication.c calls this - see its
 * own two dispatch cases). Validates the epoch is representable by this
 * RTC's hardware (RTC_DateTypeDef.Year is a uint8_t offset from 2000),
 * converts it, sets the RTC, and - only on full success - writes the
 * backup marker and marks synchronized. On any failure, returns 0 without
 * writing the marker or changing rtc_synchronized, so a partially-applied
 * value is never trusted, this boot or after a future reboot. */
int RtcSync_ApplyEpoch(uint32_t epochSeconds)
{
    RTC_TimeTypeDef sTime = {0};
    RTC_DateTypeDef sDate = {0};
    uint16_t year;
    uint8_t month, day, hour, minute, second;

    if (epochSeconds < RTC_SYNC_MIN_EPOCH || epochSeconds > RTC_SYNC_MAX_EPOCH)
    {
        return 0;
    }

    EpochToCalendar(epochSeconds, &year, &month, &day, &hour, &minute, &second);

    sTime.Hours = hour;
    sTime.Minutes = minute;
    sTime.Seconds = second;
    sTime.DayLightSaving = RTC_DAYLIGHTSAVING_NONE;
    sTime.StoreOperation = RTC_STOREOPERATION_RESET;
    if (HAL_RTC_SetTime(&hrtc, &sTime, RTC_FORMAT_BIN) != HAL_OK)
    {
        return 0;
    }

    /* WeekDay is never actually read anywhere in this project (DateToEpoch/
     * EpochToCalendar don't use it, nothing downstream queries it) - a
     * fixed placeholder matches MX_RTC_Init()'s own existing precedent
     * exactly (it also hardcodes RTC_WEEKDAY_MONDAY regardless of the
     * real date). HAL_RTC_SetDate() asserts WeekDay is a valid enum value
     * (stm32l4xx_hal_rtc.c), so this isn't optional - leaving it at 0
     * would fail that check if full asserts are ever enabled. */
    sDate.WeekDay = RTC_WEEKDAY_MONDAY;
    sDate.Month = month;
    sDate.Date = day;
    sDate.Year = (uint8_t)(year - 2000);
    if (HAL_RTC_SetDate(&hrtc, &sDate, RTC_FORMAT_BIN) != HAL_OK)
    {
        return 0;
    }

    HAL_RTCEx_BKUPWrite(&hrtc, RTC_BKP_DR0, RTC_SYNC_MARKER);
    rtc_synchronized = 1;
    return 1;
}

/* DIAGNOSTIC (round 5, Object Detection freeze investigation) - see the
 * globals/attributes in USER CODE BEGIN PV for the full explanation.
 * Toggles RGB_LED_2 (PA8, blue channel - unused by Event) directly via
 * raw HAL, bypassing led.c entirely, so this can't be confused with or
 * interfere with Event's own LED usage. No blocking calls. */
void StartHeartbeatTask(void *argument)
{
    for (;;)
    {
        g_heartbeat_count++;
        HAL_GPIO_TogglePin(RGB_LED_2_GPIO_Port, RGB_LED_2_Pin);
        osDelay(150);
    }
}

/* DIAGNOSTIC (round 5) - required by FreeRTOS once
 * configCHECK_FOR_STACK_OVERFLOW is enabled (FreeRTOSConfig.h). Called
 * from within the RTOS kernel itself if a task's stack overflow is
 * detected - captures which task via the globals declared in USER CODE
 * BEGIN PV, then deliberately traps in a while(1) instead of letting
 * execution continue in an already-corrupted state. */
void vApplicationStackOverflowHook(TaskHandle_t xTask, char *pcTaskName)
{
    (void)xTask;
    g_stack_overflow_detected = 1;
    g_stack_overflow_task_name = pcTaskName;
    for (;;)
    {
    }
}
/* USER CODE END 4 */

void StartDefaultTask(void *argument)
{
  for(;;)
  {
    osDelay(1);
  }
}

void StartTask02(void *argument)
{
  /* USER CODE BEGIN StartTask02 */
  /* Read the real boot time from the hardware RTC and convert it to a
     Unix epoch timestamp for Init_Start() - this is the real time
     source Init_Start()'s timestamp parameter was always designed to
     accept (see init.h's header comment), now that RTC is enabled.
     HAL_RTC_GetTime() must be called before HAL_RTC_GetDate() even
     though only the date is used here - this is a real STM32 HAL
     requirement (reading the time unlocks the date shadow registers),
     not a style choice; skipping it would risk reading a stale date. */
  {
      RTC_TimeTypeDef rtcTime;
      RTC_DateTypeDef rtcDate;

      HAL_RTC_GetTime(&hrtc, &rtcTime, RTC_FORMAT_BIN);
      HAL_RTC_GetDate(&hrtc, &rtcDate, RTC_FORMAT_BIN);

      g_rtc_year = 2000 + rtcDate.Year; /* HAL stores Year as an offset from 2000 */
      g_rtc_month = rtcDate.Month;
      g_rtc_day = rtcDate.Date;
      g_rtc_hour = rtcTime.Hours;
      g_rtc_minute = rtcTime.Minutes;
      g_rtc_second = rtcTime.Seconds;
      g_rtc_timestamp = DateToEpoch(g_rtc_year, g_rtc_month, g_rtc_day, g_rtc_hour, g_rtc_minute, g_rtc_second);
  }

  /* Init module (Sec 2.7) now owns the one-shot boot sequence: it calls
     Configuration_Init()/Log_Init()/Event_Init(), in that order, then
     reports a startup event to Event - see init.c. */
  Init_Start(g_rtc_timestamp, g_wasWatchdogReset);

  /* Mirror Configuration's/Log's/Event's own state into the existing
     debugger-watch globals below - these are all getters on each
     module's own internal state, unaffected by Init now owning the
     call site above. Remove once Init/Configuration/Log/Event are all
     confirmed working together. */
  g_config_loaded_from_flash = Config_WasLoadedFromFlash();
  {
      float tempNormalLow, tempNormalHigh;
      Config_GetTempNormalRange(&tempNormalLow, &tempNormalHigh);
      g_config_temp_normal_low = tempNormalLow;
      g_config_temp_normal_high = tempNormalHigh;
  }
  g_log_mount_result = Log_GetLastMountResult();
  g_log_mounted = (g_log_mount_result == 0); /* 0 == FR_OK */
  g_event_last_frame_length = Init_GetLastStartupFrameLength();
  g_event_open_result = Event_GetLastOpenResult();
  g_event_write_result = Event_GetLastWriteResult();
  g_event_close_result = Event_GetLastCloseResult();

  /* Infinite loop - what's left here now is only what hasn't been
     claimed by a real module/task yet: IR and Button are still only
     driver-level (no Object Detection Application module exists yet),
     and the Buzzer toggle is that driver's own original bring-up test.
     DHT/Battery/Light/Log-write/mode-transition-cycle test code that
     used to live here has been REMOVED - Monitor (StartTask03 below) is
     now the real, permanent caller of all of that. */
  for(;;)
  {
    /* TEMPORARY: IR sensor hardware test - one pin read per loop, stored
       in g_ir_last_state so it can be watched live in the debugger while
       placing/removing an object in front of the sensor. This is also how
       we will confirm the sensor's real polarity (see ir.h). */
    g_ir_last_state = IR_Read();

    /* TEMPORARY: button hardware test - one pin read per loop, stored in
       g_button_last_state so it can be watched live in the debugger while
       pressing/releasing the button. This is also how we will confirm the
       button's real polarity (see button.h). */
    g_button_last_state = Button_Read();

    /* NOTE: Event_CheckAlarmButton() used to be polled here (every 2s).
       It has MOVED to StartTask04/ObjectDetectionTask's 20ms loop below,
       per this session's decision - alarm-silencing is far more
       responsive there. g_button_last_state above is unaffected (still
       read here every 2s purely for its own debugger-watch/polarity-
       confirmation purpose). */

    /* TEMPORARY: buzzer hardware test - toggle the buzzer on/off each
       loop iteration so it can be heard turning on and off every 2s on
       real hardware. */
    if (g_buzzer_test_on)
    {
        Buzzer_Off();
        g_buzzer_test_on = 0;
    }
    else
    {
     //   Buzzer_On();
        g_buzzer_test_on = 1;
    }

    osDelay(2000);
  }
  /* USER CODE END StartTask02 */
}

void StartTask03(void *argument)
{
  /* USER CODE BEGIN StartTask03 */
  /* This is Monitor's real implementation (Sec 2.1), not temporary test
     code - MonitorTask is the task Sec 7's design always intended to run
     it. Monitor_Init() resets Monitor's internal state and starts the
     DHT11 driver's timer (moved here from StartTask02 - Monitor is now
     the sole owner/caller of DHT_Read()). */
  Monitor_Init();

  /* Infinite loop - one sampling cycle every 5 seconds (Sec 2.1). The
     osDelay(5000) runs BEFORE the first sample, not after: InitTask
     (StartTask02) calls Configuration_Init()/Log_Init()/Event_Init() at
     boot, and both tasks currently share the same priority
     (osPriorityLow) with no explicit startup-order guarantee between
     them (Sec 7's frozen RTOS design has no synchronization primitive
     for this). A 5s head start gives those quick, synchronous calls
     ample time to finish before Monitor's first real Config_Get*()/
     Log_Write()/Event_* call - a simple, pragmatic mitigation, not a
     proper fix; revisit with a real synchronization primitive if this
     ever proves insufficient. */
  for(;;)
  {
    osDelay(5000);

    {
      MeasurementSample sample;
      RTC_TimeTypeDef rtcTime;
      RTC_DateTypeDef rtcDate;
      uint32_t timestamp;

      /* Phase 1 (LNC Timestamp/RTC Hardening): real RTC read, same
         pattern already proven in CommRxTask/KeepAliveTask - g_monitor_
         test_timestamp is no longer used for the production timestamp
         (see PROJECT_GUIDE.md). HAL_RTC_GetTime() must be called before
         HAL_RTC_GetDate() even though only the date is used elsewhere -
         a real STM32 HAL requirement, not a style choice. */
      HAL_RTC_GetTime(&hrtc, &rtcTime, RTC_FORMAT_BIN);
      HAL_RTC_GetDate(&hrtc, &rtcDate, RTC_FORMAT_BIN);
      timestamp = DateToEpoch(2000 + rtcDate.Year, rtcDate.Month, rtcDate.Date,
                               rtcTime.Hours, rtcTime.Minutes, rtcTime.Seconds);

      Monitor_Sample(timestamp, &sample);

      g_monitor_last_temperature = sample.temperature;
      g_monitor_last_humidity = sample.humidity;
      g_monitor_last_light = sample.light;
      g_monitor_last_battery = sample.battery;
      g_monitor_last_mode = sample.mode;
      g_monitor_sample_count++;

      /* Log's diagnostics reflect whichever call to Log_Write() happened
         most recently - that's now this one, since Monitor_Sample()
         calls Log_Write() internally every cycle. */
      g_log_open_result = Log_GetLastOpenResult();
      g_log_write_result = Log_GetLastWriteResult();
      g_log_close_result = Log_GetLastCloseResult();
      g_log_bytes_written = Log_GetLastBytesWritten();

      /* Event's diagnostics only change on a cycle where Monitor_Sample()
         actually detected a mode change and called Event_OnModeTransition()
         internally - otherwise these simply keep reflecting the last time
         that happened, which is still a valid "last known" value to watch. */
      g_event_alarm_active = Event_IsAlarmActive();
      g_event_open_result = Event_GetLastOpenResult();
      g_event_write_result = Event_GetLastWriteResult();
      g_event_close_result = Event_GetLastCloseResult();

      /* DIAGNOSTIC (round 5) - stack high-water mark (words remaining)
         and free heap, sampled every cycle so they can be correlated
         against ObjectDetectionTask's own copies at the ~5s freeze point. */
      g_monitor_stack_hwm = (uint32_t)uxTaskGetStackHighWaterMark(NULL);
      g_free_heap_size = (uint32_t)xPortGetFreeHeapSize();
    }
  }
  /* USER CODE END StartTask03 */
}

void StartTask04(void *argument)
{
  /* USER CODE BEGIN StartTask04 */
  /* This is Object Detection's real implementation (Sec 2.2), not
     temporary test code - ObjectDetectionTask is the task Sec 7's design
     always intended to run it (priority 3, continuous poll). */
  ObjectDetection_Init();

  /* Infinite loop - one poll every IR_POLL_INTERVAL_MS (20ms). No RTC
     exists yet, so g_object_detection_test_timestamp is this task's own
     fixed test clock - it only actually matters on the rare poll where
     the state changes and Event_OnObjectDetection() is called, so
     incrementing it by 1 "second" every poll (not truly 1:1 with real
     time) is a harmless test-only simplification, same spirit as every
     other module's fake test clock. */
  for(;;)
  {
    RTC_TimeTypeDef rtcTime;
    RTC_DateTypeDef rtcDate;
    uint32_t timestamp;

    g_object_detection_poll_count++; /* DIAGNOSTIC step 1 - counts every loop entry, unconditionally, first thing */

    /* Phase 1 (LNC Timestamp/RTC Hardening): real RTC read, same pattern
       already proven in CommRxTask/KeepAliveTask/MonitorTask -
       g_object_detection_test_timestamp is no longer used for the
       production timestamp (see PROJECT_GUIDE.md). A fast, non-blocking
       pair of register reads every 20ms poll, same reasoning CommRxTask's
       own comment already documents for its own per-frame RTC read. */
    HAL_RTC_GetTime(&hrtc, &rtcTime, RTC_FORMAT_BIN);
    HAL_RTC_GetDate(&hrtc, &rtcDate, RTC_FORMAT_BIN);
    timestamp = DateToEpoch(2000 + rtcDate.Year, rtcDate.Month, rtcDate.Date,
                             rtcTime.Hours, rtcTime.Minutes, rtcTime.Seconds);

    g_od_diag_before_poll = g_object_detection_poll_count; /* DIAGNOSTIC step 2 */
    ObjectDetection_Poll(timestamp);
    g_od_diag_after_poll = g_object_detection_poll_count; /* DIAGNOSTIC step 3 */

    g_object_detection_last_state = ObjectDetection_GetCurrentState();
    g_object_detection_raw_ir_state = ObjectDetection_GetRawReading(); /* DIAGNOSTIC - see PV comment */
    g_object_detection_raw_gpio_level = (HAL_GPIO_ReadPin(IR_GPIO_Port, IR_Pin) == GPIO_PIN_SET) ? 1 : 0; /* DIAGNOSTIC - direct GPIO read, bypasses ir.c entirely */

    /* Sec 2.3's "button press stops alarm" - moved here from
       StartTask02's 2s loop, per this session's decision: checking every
       20ms (this task's own cadence) makes silencing an active alarm far
       more responsive. Harmless to call every iteration; it only does
       anything if Event's alarm is currently active. */
    g_od_diag_before_button_check = g_object_detection_poll_count; /* DIAGNOSTIC step 4 */
    Event_CheckAlarmButton();
    g_od_diag_after_button_check = g_object_detection_poll_count; /* DIAGNOSTIC step 5 */

    g_od_diag_before_delay = g_object_detection_poll_count; /* DIAGNOSTIC step 6 */
    osDelay(IR_POLL_INTERVAL_MS);
    g_od_diag_after_delay = g_object_detection_poll_count; /* DIAGNOSTIC step 7 */

    /* DIAGNOSTIC (round 5) - stack high-water mark (words remaining) and
       free heap, sampled every cycle so they can be correlated against
       MonitorTask's own copies right at the ~5s freeze point. */
    g_od_stack_hwm = (uint32_t)uxTaskGetStackHighWaterMark(NULL);
    g_free_heap_size = (uint32_t)xPortGetFreeHeapSize();
  }
  /* USER CODE END StartTask04 */
}

void StartTask05(void *argument)
{
  /* USER CODE BEGIN StartTask05 */
  static ProtocolDecoder decoder;
  static ProtocolFrame decoded_frame;
  ProtocolDecodeStatus status;
  uint8_t received_byte;

  Protocol_DecoderInit(&decoder);

  /* Infinite loop */
  for(;;)
  {
    if (Transport_UART_ReceiveByte(&received_byte, 50) == 1)
    {
      status = Protocol_FeedByte(&decoder, received_byte, &decoded_frame);

      if (status == PROTOCOL_DECODE_FRAME_READY)
      {
        g_frames_decoded_ok++;

        /* Sec 2.5: act on the decoded command. A fresh RTC read here
           (only when a frame actually arrived, not every 20ms idle poll)
           is a fast, non-blocking pair of register reads - it does not
           risk starving KeepAliveTask the way a real delay would.
           DateToEpoch() is the same static helper StartTask02/StartTask07
           already use - no new helper needed, same translation unit. */
        {
          RTC_TimeTypeDef rtcTime;
          RTC_DateTypeDef rtcDate;
          uint32_t timestamp;

          HAL_RTC_GetTime(&hrtc, &rtcTime, RTC_FORMAT_BIN);
          HAL_RTC_GetDate(&hrtc, &rtcDate, RTC_FORMAT_BIN);
          timestamp = DateToEpoch(2000 + rtcDate.Year, rtcDate.Month, rtcDate.Date,
                                   rtcTime.Hours, rtcTime.Minutes, rtcTime.Seconds);

          Communication_Dispatch(&decoded_frame, timestamp);

          g_dispatch_last_tag = Communication_GetLastDispatchedTag();
          g_dispatch_set_limit_count = Communication_GetSetLimitCount();
          g_dispatch_system_time_request_count = Communication_GetSystemTimeRequestCount();
          g_dispatch_deferred_count = Communication_GetDeferredCount();
          g_dispatch_unknown_tag_count = Communication_GetUnknownTagCount();
        }
      }
      else if (status == PROTOCOL_DECODE_ERROR)
      {
        g_frames_decode_error++;
      }
    }
    else
    {
      /* No byte arrived within the timeout. This osDelay() is required,
         not optional: without it, this task would never truly block,
         and KeepAliveTask (lower priority) would be starved of CPU time.
         See comm_transport_uart.h / PROJECT_GUIDE.md section 7. */
      osDelay(1);
    }
  }
  /* USER CODE END StartTask05 */
}

void StartTask06(void *argument)
{
  /* USER CODE BEGIN StartTask06 */
  /* Sec 7: CommTxTask is now the ONLY task that ever calls
     Transport_UART_Send() - every sender (Keep-Alive, Event's callers,
     Communication's system-time reply) hands its already-built frame to
     tx_queue.c instead of sending directly. Each loop iteration checks
     all 3 queues in strict priority order (TxQueue_DrainOne()) and
     sends whatever it finds; if all 3 are empty, osDelay(1) yields -
     same "don't busy-spin, don't starve lower-priority tasks" discipline
     CommRxTask already uses on its own idle path (Sec 7).

     (The fixed-tag-0x01 bring-up test frame that lived here has served
     its purpose - it proved Transport+Protocol work together on real
     hardware - and is removed now that real senders exist.) */
  uint8_t frame_buffer[TX_QUEUE_MAX_ITEM_SIZE];
  uint16_t frame_length;

  /* Infinite loop */
  for(;;)
  {
    frame_length = TxQueue_DrainOne(frame_buffer, sizeof(frame_buffer));

    if (frame_length > 0)
    {
      Transport_UART_Send(frame_buffer, frame_length, 100);
    }
    else
    {
      osDelay(1);
    }
  }
  /* USER CODE END StartTask06 */
}

void StartTask07(void *argument)
{
  /* USER CODE BEGIN StartTask07 */
  /* Sec 2.8: every 6 seconds, send a keepalive to the CC containing a
     fresh timestamp plus Monitor's latest measurement data and mode.
     Reads the RTC directly here, the same pattern StartTask02/InitTask
     already established for Init_Start()'s timestamp - no Application
     module in this project reads the RTC internally, the caller always
     supplies a plain uint32_t timestamp (see keepalive.h). HAL_RTC_GetTime()
     must be called before HAL_RTC_GetDate() even though only the date
     feeds into DateToEpoch() below along with the time fields - this is
     a real STM32 HAL requirement (reading the time unlocks the date
     shadow registers), not a style choice. DateToEpoch() is the same
     static helper StartTask02 already uses - no new helper needed, same
     translation unit. */
  for(;;)
  {
    RTC_TimeTypeDef rtcTime;
    RTC_DateTypeDef rtcDate;
    uint32_t timestamp;

    HAL_RTC_GetTime(&hrtc, &rtcTime, RTC_FORMAT_BIN);
    HAL_RTC_GetDate(&hrtc, &rtcDate, RTC_FORMAT_BIN);
    timestamp = DateToEpoch(2000 + rtcDate.Year, rtcDate.Month, rtcDate.Date,
                             rtcTime.Hours, rtcTime.Minutes, rtcTime.Seconds);

    g_keepalive_last_frame_length = KeepAlive_Send(timestamp);
    g_keepalive_last_timestamp = timestamp;
    g_keepalive_send_count++;

    osDelay(6000);
  }
  /* USER CODE END StartTask07 */
}

void StartTask08(void *argument)
{
  /* USER CODE BEGIN StartTask08 */
  /* IWDG is not windowed (Prescaler=32, Reload=Window=4095): counter
     clock is LSI(~32kHz)/32 = 1kHz, so the full timeout is ~4.1s and a
     refresh is accepted at any time before it elapses. Refreshing every
     1.5s leaves wide margin on both sides. WatchdogTask runs at the
     highest priority so a starved/stuck lower-priority task cannot
     prevent this refresh from running. */
  for(;;)
  {
    osDelay(1500);
    HAL_IWDG_Refresh(&hiwdg);
  }
  /* USER CODE END StartTask08 */
}

void Error_Handler(void)
{
  __disable_irq();
  while (1)
  {
  }
}
